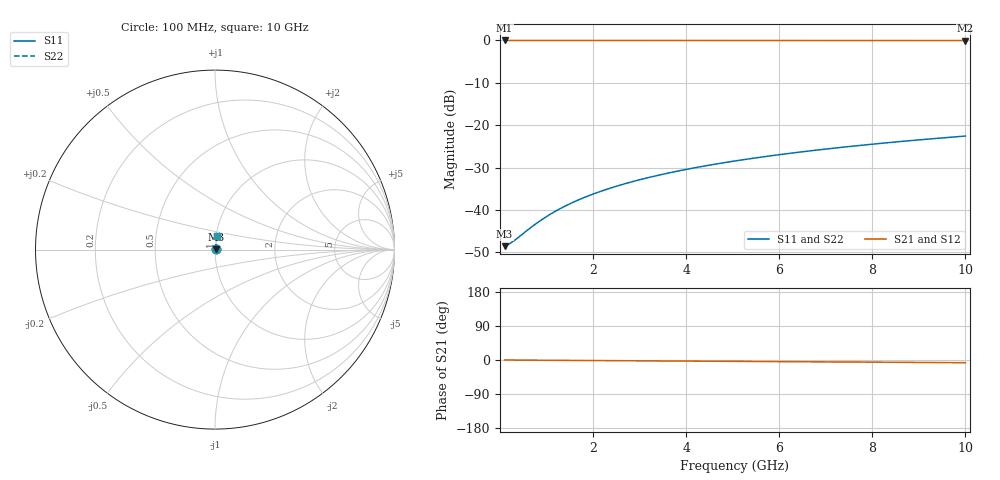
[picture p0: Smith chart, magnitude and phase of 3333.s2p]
# Hz S RI R 50.00
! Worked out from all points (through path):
!   100 points, 100 MHz to 10 GHz, reference 50 ohm
!   highest |S21| = -0.03 dB at 100 MHz (marker M1); lowest = -0.1 dB at 10 GHz (marker M2)
!   lowest |S11| = -48.5 dB at 100 MHz (marker M3), VSWR 1.01, Z = 50.4 + j0.0746 ohm
!   |S11| at or under -10 dB: start of sweep to end of sweep
!   |S22| runs from -48.5 to -22.6 dB; largest |S21 - S12| = 0
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1e8  0.00366 0.00074  0.9963 -0.00124  0.9963 -0.00124  0.00366 0.00074
2e8  0.00369 0.00148  0.9963 -0.00248  0.9963 -0.00248  0.00369 0.00148
3e8  0.00371 0.00222  0.9963 -0.00371  0.9963 -0.00371  0.00371 0.00222
6e8  0.00378 0.00444  0.9962 -0.00743  0.9962 -0.00743  0.00378 0.00444
8e8  0.00382 0.00592  0.9962 -0.0099  0.9962 -0.0099  0.00382 0.00592
9e8  0.00384 0.00666  0.9961 -0.0111  0.9961 -0.0111  0.00384 0.00666
1.1e9  0.00389 0.00814  0.9961 -0.0136  0.9961 -0.0136  0.00389 0.00814
1.4e9  0.00398 0.0104  0.996 -0.0173  0.996 -0.0173  0.00398 0.0104
1.6e9  0.00405 0.0118  0.9959 -0.0198  0.9959 -0.0198  0.00405 0.0118
1.8e9  0.00412 0.0133  0.9958 -0.0223  0.9958 -0.0223  0.00412 0.0133
2.1e9  0.00424 0.0155  0.9957 -0.026  0.9957 -0.026  0.00424 0.0155
2.5e9  0.00443 0.0185  0.9955 -0.0309  0.9955 -0.0309  0.00443 0.0185
2.9e9  0.00464 0.0214  0.9952 -0.0359  0.9952 -0.0359  0.00464 0.0214
3.4e9  0.00495 0.0251  0.9949 -0.042  0.9949 -0.042  0.00495 0.0251
3.8e9  0.00523 0.0281  0.9946 -0.047  0.9946 -0.047  0.00523 0.0281
4.2e9  0.00554 0.031  0.9942 -0.0519  0.9942 -0.0519  0.00554 0.031
5.1e9  0.00633 0.0376  0.9933 -0.063  0.9933 -0.063  0.00633 0.0376
5.9e9  0.00716 0.0435  0.9924 -0.0729  0.9924 -0.0729  0.00716 0.0435
6.7e9  0.00811 0.0493  0.9913 -0.0827  0.9913 -0.0827  0.00811 0.0493
7.5e9  0.00917 0.0551  0.9901 -0.0925  0.9901 -0.0925  0.00917 0.0551
8.4e9  0.0105 0.0616  0.9886 -0.1035  0.9886 -0.1035  0.0105 0.0616
1e10  0.0132 0.0731  0.9855 -0.123  0.9855 -0.123  0.0132 0.0731
